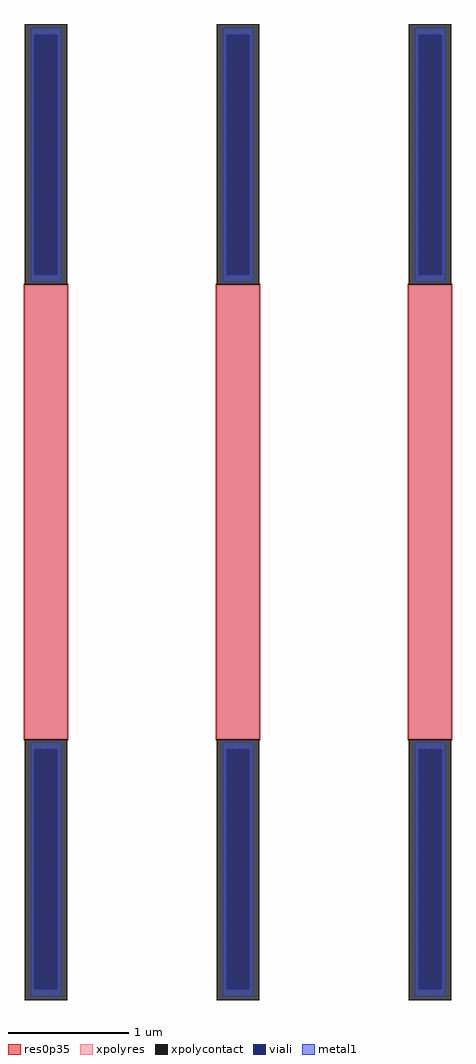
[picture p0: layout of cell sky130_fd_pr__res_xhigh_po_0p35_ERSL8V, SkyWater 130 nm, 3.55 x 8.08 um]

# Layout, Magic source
magic
tech sky130A
magscale 1 2
<< xpolycontact >>
rect -353 376 -283 808
rect -353 -808 -283 -376
rect -35 376 35 808
rect -35 -808 35 -376
rect 283 376 353 808
rect 283 -808 353 -376
<< xpolyres >>
rect -353 -376 -283 376
rect -35 -376 35 376
rect 283 -376 353 376
<< viali >>
rect -337 393 -299 790
rect -19 393 19 790
rect 299 393 337 790
rect -337 -790 -299 -393
rect -19 -790 19 -393
rect 299 -790 337 -393
<< metal1 >>
rect -343 790 -293 802
rect -343 393 -337 790
rect -299 393 -293 790
rect -343 381 -293 393
rect -25 790 25 802
rect -25 393 -19 790
rect 19 393 25 790
rect -25 381 25 393
rect 293 790 343 802
rect 293 393 299 790
rect 337 393 343 790
rect 293 381 343 393
rect -343 -393 -293 -381
rect -343 -790 -337 -393
rect -299 -790 -293 -393
rect -343 -802 -293 -790
rect -25 -393 25 -381
rect -25 -790 -19 -393
rect 19 -790 25 -393
rect -25 -802 25 -790
rect 293 -393 343 -381
rect 293 -790 299 -393
rect 337 -790 343 -393
rect 293 -802 343 -790
<< res0p35 >>
rect -355 -378 -281 378
rect -37 -378 37 378
rect 281 -378 355 378
<< properties >>
string gencell sky130_fd_pr__res_xhigh_po_0p35
string parameters w 0.350 l 3.763 m 1 nx 3 wmin 0.350 lmin 0.50 rho 2000 val 22.188k dummy 0 dw 0.0 term 120 sterm 0.0 caplen 0 wmax 0.350 guard 0 glc 1 grc 1 gtc 1 gbc 1 compatible {sky130_fd_pr__res_xhigh_po_0p35  sky130_fd_pr__res_xhigh_po_0p69 sky130_fd_pr__res_xhigh_po_1p41  sky130_fd_pr__res_xhigh_po_2p85 sky130_fd_pr__res_xhigh_po_5p73} full_metal 1 vias 1 viagb 0 viagt 0 viagl 0 viagr 0
string library sky130
<< end >>
